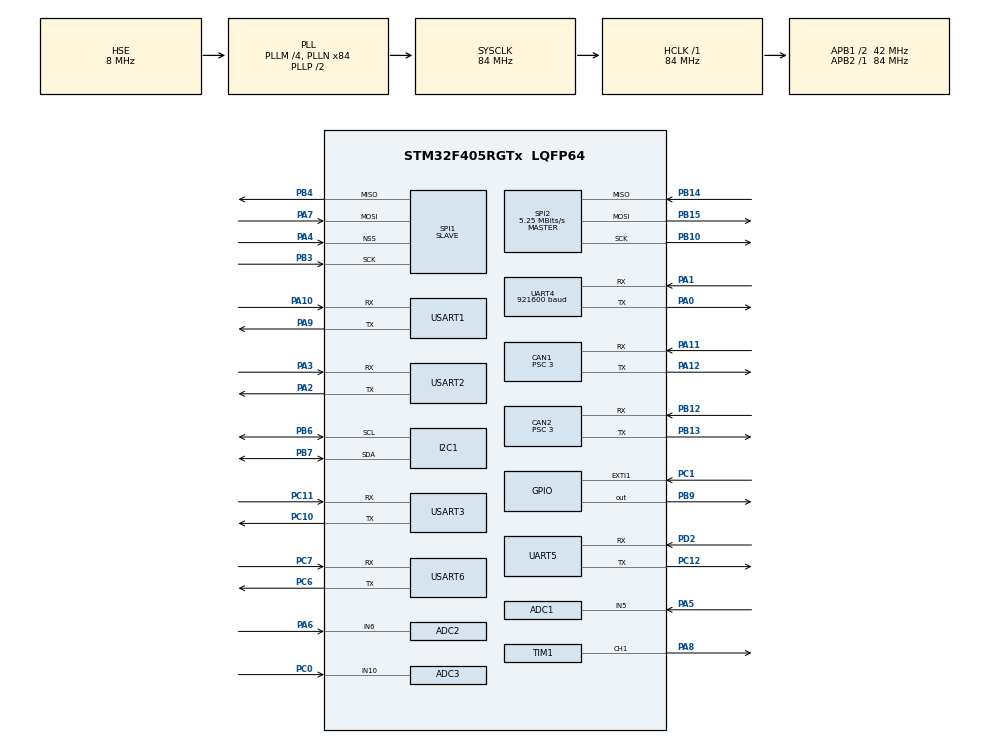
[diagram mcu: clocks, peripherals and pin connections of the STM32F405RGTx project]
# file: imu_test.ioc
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ADC1.Channel-2\#ChannelRegularConversion=ADC_CHANNEL_5
ADC1.ClockPrescaler=ADC_CLOCK_SYNC_PCLK_DIV4
ADC1.NbrOfConversionFlag=1
ADC1.Rank-2\#ChannelRegularConversion=1
ADC1.SamplingTime-2\#ChannelRegularConversion=ADC_SAMPLETIME_3CYCLES
ADC1.master=1
ADC2.Channel-2\#ChannelRegularConversion=ADC_CHANNEL_6
ADC2.ClockPrescaler=ADC_CLOCK_SYNC_PCLK_DIV4
ADC2.NbrOfConversionFlag=1
ADC2.Rank-2\#ChannelRegularConversion=1
ADC2.SamplingTime-2\#ChannelRegularConversion=ADC_SAMPLETIME_3CYCLES
ADC3.Channel-2\#ChannelRegularConversion=ADC_CHANNEL_10
ADC3.ClockPrescaler=ADC_CLOCK_SYNC_PCLK_DIV4
ADC3.NbrOfConversionFlag=1
ADC3.Rank-2\#ChannelRegularConversion=1
ADC3.SamplingTime-2\#ChannelRegularConversion=ADC_SAMPLETIME_3CYCLES
CAN1.BS1=CAN_BS1_9TQ
CAN1.BS2=CAN_BS2_4TQ
CAN1.CalculateBaudRate=1000000
CAN1.CalculateTimeBit=1000
CAN1.CalculateTimeQuantum=71.42857142857143
CAN1.Prescaler=3
CAN1.TXFP=ENABLE
CAN2.BS1=CAN_BS1_9TQ
CAN2.BS2=CAN_BS2_4TQ
CAN2.CalculateBaudRate=1000000
CAN2.CalculateTimeBit=1000
CAN2.CalculateTimeQuantum=71.42857142857143
CAN2.Prescaler=3
CAN2.TXFP=ENABLE
Dma.Request0=USART6_RX
Dma.Request1=USART1_RX
Dma.Request2=UART4_RX
Dma.Request3=SPI1_RX
Dma.Request4=SPI1_TX
Dma.Request5=SPI2_RX
Dma.Request6=SPI2_TX
Dma.SPI1_RX.3.Direction=DMA_PERIPH_TO_MEMORY
Dma.SPI1_RX.3.FIFOMode=DMA_FIFOMODE_DISABLE
Dma.SPI1_RX.3.Instance=DMA2_Stream2
Dma.SPI1_RX.3.MemDataAlignment=DMA_MDATAALIGN_BYTE
Dma.SPI1_RX.3.MemInc=DMA_MINC_ENABLE
Dma.SPI1_RX.3.Mode=DMA_NORMAL
Dma.SPI1_RX.3.PeriphDataAlignment=DMA_PDATAALIGN_BYTE
Dma.SPI1_RX.3.PeriphInc=DMA_PINC_DISABLE
Dma.SPI1_RX.3.Priority=DMA_PRIORITY_HIGH
Dma.SPI1_TX.4.Direction=DMA_MEMORY_TO_PERIPH
Dma.SPI1_TX.4.FIFOMode=DMA_FIFOMODE_DISABLE
Dma.SPI1_TX.4.Instance=DMA2_Stream3
Dma.SPI1_TX.4.MemDataAlignment=DMA_MDATAALIGN_BYTE
Dma.SPI1_TX.4.MemInc=DMA_MINC_ENABLE
Dma.SPI1_TX.4.Mode=DMA_NORMAL
Dma.SPI1_TX.4.PeriphDataAlignment=DMA_PDATAALIGN_BYTE
Dma.SPI1_TX.4.PeriphInc=DMA_PINC_DISABLE
Dma.SPI1_TX.4.Priority=DMA_PRIORITY_HIGH
Dma.SPI2_RX.5.Direction=DMA_PERIPH_TO_MEMORY
Dma.SPI2_RX.5.FIFOMode=DMA_FIFOMODE_DISABLE
Dma.SPI2_RX.5.Instance=DMA1_Stream3
Dma.SPI2_RX.5.MemDataAlignment=DMA_MDATAALIGN_BYTE
Dma.SPI2_RX.5.MemInc=DMA_MINC_ENABLE
Dma.SPI2_RX.5.Mode=DMA_NORMAL
Dma.SPI2_RX.5.PeriphDataAlignment=DMA_PDATAALIGN_HALFWORD
Dma.SPI2_RX.5.PeriphInc=DMA_PINC_DISABLE
Dma.SPI2_RX.5.Priority=DMA_PRIORITY_LOW
Dma.SPI2_TX.6.Direction=DMA_MEMORY_TO_PERIPH
Dma.SPI2_TX.6.FIFOMode=DMA_FIFOMODE_DISABLE
Dma.SPI2_TX.6.Instance=DMA1_Stream4
Dma.SPI2_TX.6.MemDataAlignment=DMA_MDATAALIGN_HALFWORD
Dma.SPI2_TX.6.MemInc=DMA_MINC_ENABLE
Dma.SPI2_TX.6.Mode=DMA_NORMAL
Dma.SPI2_TX.6.PeriphDataAlignment=DMA_PDATAALIGN_HALFWORD
Dma.SPI2_TX.6.PeriphInc=DMA_PINC_DISABLE
Dma.SPI2_TX.6.Priority=DMA_PRIORITY_LOW
Dma.UART4_RX.2.Direction=DMA_PERIPH_TO_MEMORY
Dma.UART4_RX.2.FIFOMode=DMA_FIFOMODE_DISABLE
Dma.UART4_RX.2.Instance=DMA1_Stream2
Dma.UART4_RX.2.MemDataAlignment=DMA_MDATAALIGN_BYTE
Dma.UART4_RX.2.MemInc=DMA_MINC_ENABLE
Dma.UART4_RX.2.Mode=DMA_NORMAL
Dma.UART4_RX.2.PeriphDataAlignment=DMA_PDATAALIGN_BYTE
Dma.UART4_RX.2.PeriphInc=DMA_PINC_DISABLE
Dma.UART4_RX.2.Priority=DMA_PRIORITY_MEDIUM
Dma.USART1_RX.1.Direction=DMA_PERIPH_TO_MEMORY
Dma.USART1_RX.1.FIFOMode=DMA_FIFOMODE_DISABLE
Dma.USART1_RX.1.Instance=DMA2_Stream5
Dma.USART1_RX.1.MemDataAlignment=DMA_MDATAALIGN_BYTE
Dma.USART1_RX.1.MemInc=DMA_MINC_ENABLE
Dma.USART1_RX.1.Mode=DMA_NORMAL
Dma.USART1_RX.1.PeriphDataAlignment=DMA_PDATAALIGN_BYTE
Dma.USART1_RX.1.PeriphInc=DMA_PINC_DISABLE
Dma.USART1_RX.1.Priority=DMA_PRIORITY_HIGH
Dma.USART6_RX.0.Direction=DMA_PERIPH_TO_MEMORY
Dma.USART6_RX.0.FIFOMode=DMA_FIFOMODE_DISABLE
Dma.USART6_RX.0.Instance=DMA2_Stream1
Dma.USART6_RX.0.MemDataAlignment=DMA_MDATAALIGN_BYTE
Dma.USART6_RX.0.MemInc=DMA_MINC_ENABLE
Dma.USART6_RX.0.Mode=DMA_NORMAL
Dma.USART6_RX.0.PeriphDataAlignment=DMA_PDATAALIGN_BYTE
Dma.USART6_RX.0.PeriphInc=DMA_PINC_DISABLE
Dma.USART6_RX.0.Priority=DMA_PRIORITY_HIGH
IWDG.Prescaler=IWDG_PRESCALER_16
IWDG.Reload=500
Mcu.Family=STM32F4
Mcu.Name=STM32F405RGTx
Mcu.Package=LQFP64
NVIC.CAN1_RX0_IRQn=true\:0\:0\:false\:false\:true\:true\:true\:true
NVIC.CAN1_TX_IRQn=true\:0\:0\:false\:false\:true\:true\:true\:true
NVIC.CAN2_RX1_IRQn=true\:5\:0\:true\:false\:true\:true\:true\:true
NVIC.CAN2_TX_IRQn=true\:0\:0\:false\:false\:true\:true\:true\:true
NVIC.DMA1_Stream2_IRQn=true\:5\:0\:true\:false\:true\:false\:true\:true
NVIC.DMA1_Stream3_IRQn=true\:0\:0\:false\:false\:true\:false\:true\:true
NVIC.DMA1_Stream4_IRQn=true\:0\:0\:false\:false\:true\:false\:true\:true
NVIC.DMA2_Stream1_IRQn=true\:5\:0\:true\:false\:true\:false\:true\:true
NVIC.DMA2_Stream2_IRQn=true\:5\:0\:true\:false\:true\:false\:true\:true
NVIC.DMA2_Stream3_IRQn=true\:0\:0\:false\:false\:true\:false\:true\:true
NVIC.DMA2_Stream5_IRQn=true\:5\:0\:true\:false\:true\:false\:true\:true
NVIC.EXTI1_IRQn=true\:0\:0\:false\:false\:true\:true\:true\:true
NVIC.PriorityGroup=NVIC_PRIORITYGROUP_4
NVIC.SPI1_IRQn=true\:0\:0\:false\:false\:true\:true\:true\:true
NVIC.SPI2_IRQn=true\:0\:0\:false\:false\:true\:true\:true\:true
NVIC.TIM2_IRQn=true\:5\:0\:true\:false\:true\:true\:true\:true
NVIC.TIM8_TRG_COM_TIM14_IRQn=true\:15\:0\:false\:false\:true\:false\:true\:true
NVIC.TimeBase=TIM8_TRG_COM_TIM14_IRQn
NVIC.TimeBaseIP=TIM14
NVIC.USART6_IRQn=true\:0\:0\:false\:false\:true\:true\:true\:true
PA0-WKUP.Mode=Asynchronous
PA0-WKUP.Signal=UART4_TX
PA1.Mode=Asynchronous
PA1.Signal=UART4_RX
PA10.Mode=Asynchronous
PA10.Signal=USART1_RX
PA11.Mode=CAN_Activate
PA11.Signal=CAN1_RX
PA12.Mode=CAN_Activate
PA12.Signal=CAN1_TX
PA13.Mode=Serial_Wire
PA13.Signal=SYS_JTMS-SWDIO
PA14.Mode=Serial_Wire
PA14.Signal=SYS_JTCK-SWCLK
PA2.Mode=Asynchronous
PA2.Signal=USART2_TX
PA3.Mode=Asynchronous
PA3.Signal=USART2_RX
PA4.Mode=NSS_Signal_Hard_Input
PA4.Signal=SPI1_NSS
PA5.Signal=ADCx_IN5
PA6.Signal=ADCx_IN6
PA7.Mode=Full_Duplex_Slave
PA7.Signal=SPI1_MOSI
PA8.Signal=S_TIM1_CH1
PA9.Mode=Asynchronous
PA9.Signal=USART1_TX
PB10.Mode=Full_Duplex_Master
PB10.Signal=SPI2_SCK
PB12.Mode=CAN_Activate
PB12.Signal=CAN2_RX
PB13.Mode=CAN_Activate
PB13.Signal=CAN2_TX
PB14.Mode=Full_Duplex_Master
PB14.Signal=SPI2_MISO
PB15.Mode=Full_Duplex_Master
PB15.Signal=SPI2_MOSI
PB3.Mode=Full_Duplex_Slave
PB3.Signal=SPI1_SCK
PB4.Mode=Full_Duplex_Slave
PB4.Signal=SPI1_MISO
PB6.Mode=I2C
PB6.Signal=I2C1_SCL
PB7.Mode=I2C
PB7.Signal=I2C1_SDA
PB9.GPIO_PuPd=GPIO_PULLUP
PB9.GPIO_Speed=GPIO_SPEED_FREQ_HIGH
PB9.PinState=GPIO_PIN_SET
PB9.Signal=GPIO_Output
PC0.Signal=ADCx_IN10
PC1.Signal=GPXTI1
PC10.Mode=Asynchronous
PC10.Signal=USART3_TX
PC11.Mode=Asynchronous
PC11.Signal=USART3_RX
PC12.Mode=Asynchronous
PC12.Signal=UART5_TX
PC14-OSC32_IN.Mode=LSE-External-Oscillator
PC14-OSC32_IN.Signal=RCC_OSC32_IN
PC15-OSC32_OUT.Mode=LSE-External-Oscillator
PC15-OSC32_OUT.Signal=RCC_OSC32_OUT
PC6.Mode=Asynchronous
PC6.Signal=USART6_TX
PC7.Mode=Asynchronous
PC7.Signal=USART6_RX
PD2.Mode=Asynchronous
PD2.Signal=UART5_RX
PH0-OSC_IN.Mode=HSE-External-Oscillator
PH0-OSC_IN.Signal=RCC_OSC_IN
PH1-OSC_OUT.Mode=HSE-External-Oscillator
PH1-OSC_OUT.Signal=RCC_OSC_OUT
ProjectManager.HeapSize=0x2000
ProjectManager.StackSize=0x2000
ProjectManager.TargetToolchain=CMake
RCC.48MHZClocksFreq_Value=42000000
RCC.AHBFreq_Value=84000000
RCC.APB1CLKDivider=RCC_HCLK_DIV2
RCC.APB1Freq_Value=42000000
RCC.APB1TimFreq_Value=84000000
RCC.APB2Freq_Value=84000000
RCC.APB2TimFreq_Value=84000000
RCC.CortexFreq_Value=84000000
RCC.HCLKFreq_Value=84000000
RCC.HSE_VALUE=8000000
RCC.HSI_VALUE=16000000
RCC.PLLM=4
RCC.PLLN=84
RCC.PLLSourceVirtual=RCC_PLLSOURCE_HSE
RCC.SYSCLKFreq_VALUE=84000000
RCC.SYSCLKSource=RCC_SYSCLKSOURCE_PLLCLK
RCC.VCOOutputFreq_Value=168000000
SH.ADCx_IN10.0=ADC3_IN10,IN10
SH.ADCx_IN5.0=ADC1_IN5,IN5
SH.ADCx_IN6.0=ADC2_IN6,IN6
SH.S_TIM1_CH1.0=TIM1_CH1,PWM Generation1 CH1
SPI1.DataSize=SPI_DATASIZE_8BIT
SPI1.Direction=SPI_DIRECTION_2LINES
SPI1.Mode=SPI_MODE_SLAVE
SPI1.VirtualNSS=VM_NSSHARD
SPI1.VirtualType=VM_SLAVE
SPI2.BaudRatePrescaler=SPI_BAUDRATEPRESCALER_8
SPI2.CLKPhase=SPI_PHASE_2EDGE
SPI2.CLKPolarity=SPI_POLARITY_HIGH
SPI2.CalculateBaudRate=5.25 MBits/s
SPI2.DataSize=SPI_DATASIZE_8BIT
SPI2.Direction=SPI_DIRECTION_2LINES
SPI2.Mode=SPI_MODE_MASTER
SPI2.VirtualType=VM_MASTER
TIM1.Channel-PWM\ Generation1\ CH1=TIM_CHANNEL_1
TIM13.AutoReloadPreload=TIM_AUTORELOAD_PRELOAD_ENABLE
TIM13.Prescaler=84
TIM2.Period=1000-1
TIM2.Prescaler=84
UART4.BaudRate=921600
UART4.VirtualMode=Asynchronous
UART5.VirtualMode=Asynchronous
USART1.OverSampling=UART_OVERSAMPLING_8
USART1.VirtualMode=VM_ASYNC
USART2.VirtualMode=VM_ASYNC
USART3.VirtualMode=VM_ASYNC
USART6.VirtualMode=VM_ASYNC
VP_IWDG_VS_IWDG.Mode=IWDG_Activate
VP_SYS_VS_tim14.Mode=TIM14
VP_TIM13_VS_ClockSourceINT.Mode=Enable_Timer
VP_TIM1_VS_ClockSourceINT.Mode=Internal
VP_TIM2_VS_ClockSourceINT.Mode=Internal
board=custom

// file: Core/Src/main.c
/* USER CODE BEGIN Header */
/**
  ******************************************************************************
  * @file           : main.c
  * @brief          : Main program body
  ******************************************************************************
  * @attention
  *
  * Copyright (c) 2026 STMicroelectronics.
  * All rights reserved.
  *
  * This software is licensed under terms that can be found in the LICENSE file
  * in the root directory of this software component.
  * If no LICENSE file comes with this software, it is provided AS-IS.
  *
  ******************************************************************************
  */
/* USER CODE END Header */
#include "main.h"
#include "adc.h"
#include "can.h"
#include "dma.h"
#include "i2c.h"
#include "iwdg.h"
#include "spi.h"
#include "tim.h"
#include "usart.h"
#include "gpio.h"

/* USER CODE BEGIN Includes */
#include "bmi088_probe.h"
/* USER CODE END Includes */

/* USER CODE BEGIN PV */
uint8_t Bmi088AccId = 0;
uint8_t Bmi088GyroId = 0;
bmi088_raw_data_t Bmi088AccRaw = {0};
bmi088_raw_data_t Bmi088GyroRaw = {0};
uint8_t Bmi088InitOk = 0;
uint8_t Bmi088ReadOk = 0;
uint32_t Bmi088ReadRateHz = 0;
uint32_t Bmi088ReadCount = 0;
uint32_t Bmi088ReadFailCount = 0;
uint32_t Bmi088RateWindowStartMs = 0;
uint32_t Bmi088UptimeMs = 0;
uint32_t Bmi088SensorTime = 0;
uint32_t Bmi088LastSensorTime = 0;
uint32_t Bmi088SensorUpdateHz = 0;
uint32_t Bmi088SensorUpdateCount = 0;
/* USER CODE END PV */

void SystemClock_Config(void);

/* USER CODE BEGIN 0 */
void HAL_GPIO_EXTI_Callback(uint16_t GPIO_Pin)
{
  /* Disabled old ICM42688 interrupt path during BMI088 bring-up. */
  (void)GPIO_Pin;
}
/* USER CODE END 0 */

int main(void)
{

  /* MCU Configuration--------------------------------------------------------*/

  /* Reset of all peripherals, Initializes the Flash interface and the Systick. */
  HAL_Init();

  /* Configure the system clock */
  SystemClock_Config();

  /* Initialize all configured peripherals */
  MX_GPIO_Init();
  MX_DMA_Init();
  MX_ADC1_Init();
  MX_ADC2_Init();
  MX_ADC3_Init();
  MX_CAN1_Init();
  MX_CAN2_Init();
  MX_I2C1_Init();
  MX_SPI1_Init();
  MX_UART5_Init();
  MX_USART1_UART_Init();
  MX_USART2_UART_Init();
  MX_USART3_UART_Init();
  MX_USART6_UART_Init();
  MX_TIM2_Init();
  MX_UART4_Init();
  MX_IWDG_Init();
  MX_TIM1_Init();
  MX_TIM13_Init();
  MX_SPI2_Init();
  /* USER CODE BEGIN 2 */

  HAL_Delay(50); // 强制等待陀螺仪彻底完成上电初始化 (数据手册要求至少 30ms)
  bmi088_probe_ids(&Bmi088AccId, &Bmi088GyroId);
  Bmi088InitOk = bmi088_init_minimal();
  (void)bmi088_read_acc_sensor_time(&Bmi088LastSensorTime);
  Bmi088RateWindowStartMs = HAL_GetTick();
  /* USER CODE END 2 */

  /* Infinite loop */
  while (1)
  {

    /* USER CODE BEGIN 3 */
    Bmi088ReadOk = bmi088_read_raw(&Bmi088AccRaw, &Bmi088GyroRaw);
    if (Bmi088ReadOk != 0U)
    {
      Bmi088ReadCount++;
      if (bmi088_read_acc_sensor_time(&Bmi088SensorTime) != 0U)
      {
        if (Bmi088SensorTime != Bmi088LastSensorTime)
        {
          Bmi088SensorUpdateCount++;
          Bmi088LastSensorTime = Bmi088SensorTime;
        }
      }
    }
    else
    {
      Bmi088ReadFailCount++;
    }

    Bmi088UptimeMs = HAL_GetTick();
    if ((Bmi088UptimeMs - Bmi088RateWindowStartMs) >= 1000U)
    {
      Bmi088ReadRateHz = Bmi088ReadCount;
      Bmi088SensorUpdateHz = Bmi088SensorUpdateCount;
      Bmi088ReadCount = 0;
      Bmi088SensorUpdateCount = 0;
      Bmi088RateWindowStartMs += 1000U;
    }

    HAL_IWDG_Refresh(&hiwdg);

  }
  /* USER CODE END 3 */
}

void SystemClock_Config(void)
{
  RCC_OscInitTypeDef RCC_OscInitStruct = {0};
  RCC_ClkInitTypeDef RCC_ClkInitStruct = {0};

  /** Configure the main internal regulator output voltage
  */
  __HAL_RCC_PWR_CLK_ENABLE();
  __HAL_PWR_VOLTAGESCALING_CONFIG(PWR_REGULATOR_VOLTAGE_SCALE1);

  /** Initializes the RCC Oscillators according to the specified parameters
  * in the RCC_OscInitTypeDef structure.
  */
  RCC_OscInitStruct.OscillatorType = RCC_OSCILLATORTYPE_LSI|RCC_OSCILLATORTYPE_HSE;
  RCC_OscInitStruct.HSEState = RCC_HSE_ON;
  RCC_OscInitStruct.LSIState = RCC_LSI_ON;
  RCC_OscInitStruct.PLL.PLLState = RCC_PLL_ON;
  RCC_OscInitStruct.PLL.PLLSource = RCC_PLLSOURCE_HSE;
  RCC_OscInitStruct.PLL.PLLM = 4;
  RCC_OscInitStruct.PLL.PLLN = 84;
  RCC_OscInitStruct.PLL.PLLP = RCC_PLLP_DIV2;
  RCC_OscInitStruct.PLL.PLLQ = 4;
  if (HAL_RCC_OscConfig(&RCC_OscInitStruct) != HAL_OK)
  {
    Error_Handler();
  }

  /** Initializes the CPU, AHB and APB buses clocks
  */
  RCC_ClkInitStruct.ClockType = RCC_CLOCKTYPE_HCLK|RCC_CLOCKTYPE_SYSCLK
                              |RCC_CLOCKTYPE_PCLK1|RCC_CLOCKTYPE_PCLK2;
  RCC_ClkInitStruct.SYSCLKSource = RCC_SYSCLKSOURCE_PLLCLK;
  RCC_ClkInitStruct.AHBCLKDivider = RCC_SYSCLK_DIV1;
  RCC_ClkInitStruct.APB1CLKDivider = RCC_HCLK_DIV2;
  RCC_ClkInitStruct.APB2CLKDivider = RCC_HCLK_DIV1;

  if (HAL_RCC_ClockConfig(&RCC_ClkInitStruct, FLASH_LATENCY_2) != HAL_OK)
  {
    Error_Handler();
  }
}

void HAL_TIM_PeriodElapsedCallback(TIM_HandleTypeDef *htim)
{
  if (htim->Instance == TIM14)
  {
    HAL_IncTick();
  }
}

void Error_Handler(void)
{
  __disable_irq();
  while (1)
  {
  }
}
